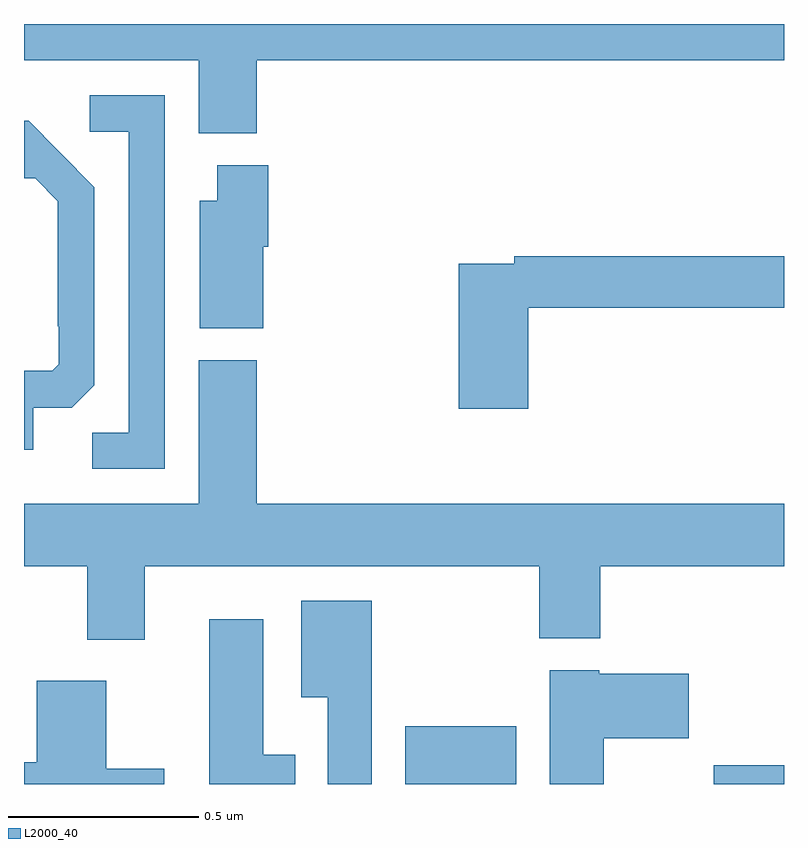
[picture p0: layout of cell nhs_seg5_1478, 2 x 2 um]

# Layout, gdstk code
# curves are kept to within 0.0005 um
import gdstk
lib = gdstk.Library(unit=1e-6, precision=1e-09)
def R(c, l, rs):  # rectangles x0, y0, x1, y1
    for r in rs: c.add(gdstk.rectangle(r[:2], r[2:], *l))
def P(c, l, *ps):  # polygons
    for p in ps: c.add(gdstk.Polygon(p, *l))
L2000_40 = (2000, 40)

nhs_seg5_1478 = lib.new_cell('nhs_seg5_1478')
R(nhs_seg5_1478, L2000_40, [(131.003,910.799,131.296,910.951), (131.815,910.799,132,910.849)])
P(nhs_seg5_1478, L2000_40, [(130.613,912.704),(132,912.704),(132,912.799),(130,912.799),(130,912.704),(130.46,912.704),(130.46,912.512),(130.613,912.512)],
  [(130.371,912.612),(130.173,912.612),(130.173,912.516),(130.275,912.516),(130.275,911.723),(130.18,911.723),(130.18,911.628),(130.371,911.628)],
  [(130.024,911.789),(130.126,911.789),(130.185,911.848),(130.185,912.37),(130.013,912.544),(130,912.544),(130,912.393),(130.029,912.393),(130.089,912.333),(130.089,912.004),(130.092,912.004),(130.092,911.904),(130.074,911.886),(130,911.886),(130,911.678),(130.024,911.678)],
  [(130.63,912.213),(130.643,912.213),(130.643,912.427),(130.508,912.427),(130.508,912.334),(130.463,912.334),(130.463,911.999),(130.63,911.999)],
  [(131.327,912.052),(132,912.052),(132,912.188),(131.29,912.188),(131.29,912.168),(131.144,912.168),(131.144,911.787),(131.327,911.787)],
  [(130.318,911.372),(131.356,911.372),(131.356,911.183),(131.516,911.183),(131.516,911.372),(132,911.372),(132,911.536),(130.613,911.536),(130.613,911.914),(130.46,911.914),(130.46,911.536),(130,911.536),(130,911.372),(130.166,911.372),(130.166,911.178),(130.318,911.178)],
  [(130.915,911.281),(130.73,911.281),(130.73,911.027),(130.799,911.027),(130.799,910.799),(130.915,910.799)],
  [(130.714,910.876),(130.63,910.876),(130.63,911.233),(130.487,911.233),(130.487,910.799),(130.714,910.799)],
  [(131.526,910.919),(131.749,910.919),(131.749,911.089),(131.514,911.089),(131.514,911.098),(131.384,911.098),(131.384,910.799),(131.526,910.799)],
  [(130.369,910.839),(130.216,910.839),(130.216,911.071),(130.034,911.071),(130.034,910.856),(130,910.856),(130,910.799),(130.369,910.799)])

lib.write_gds('nhs_seg5_1478.gds')
